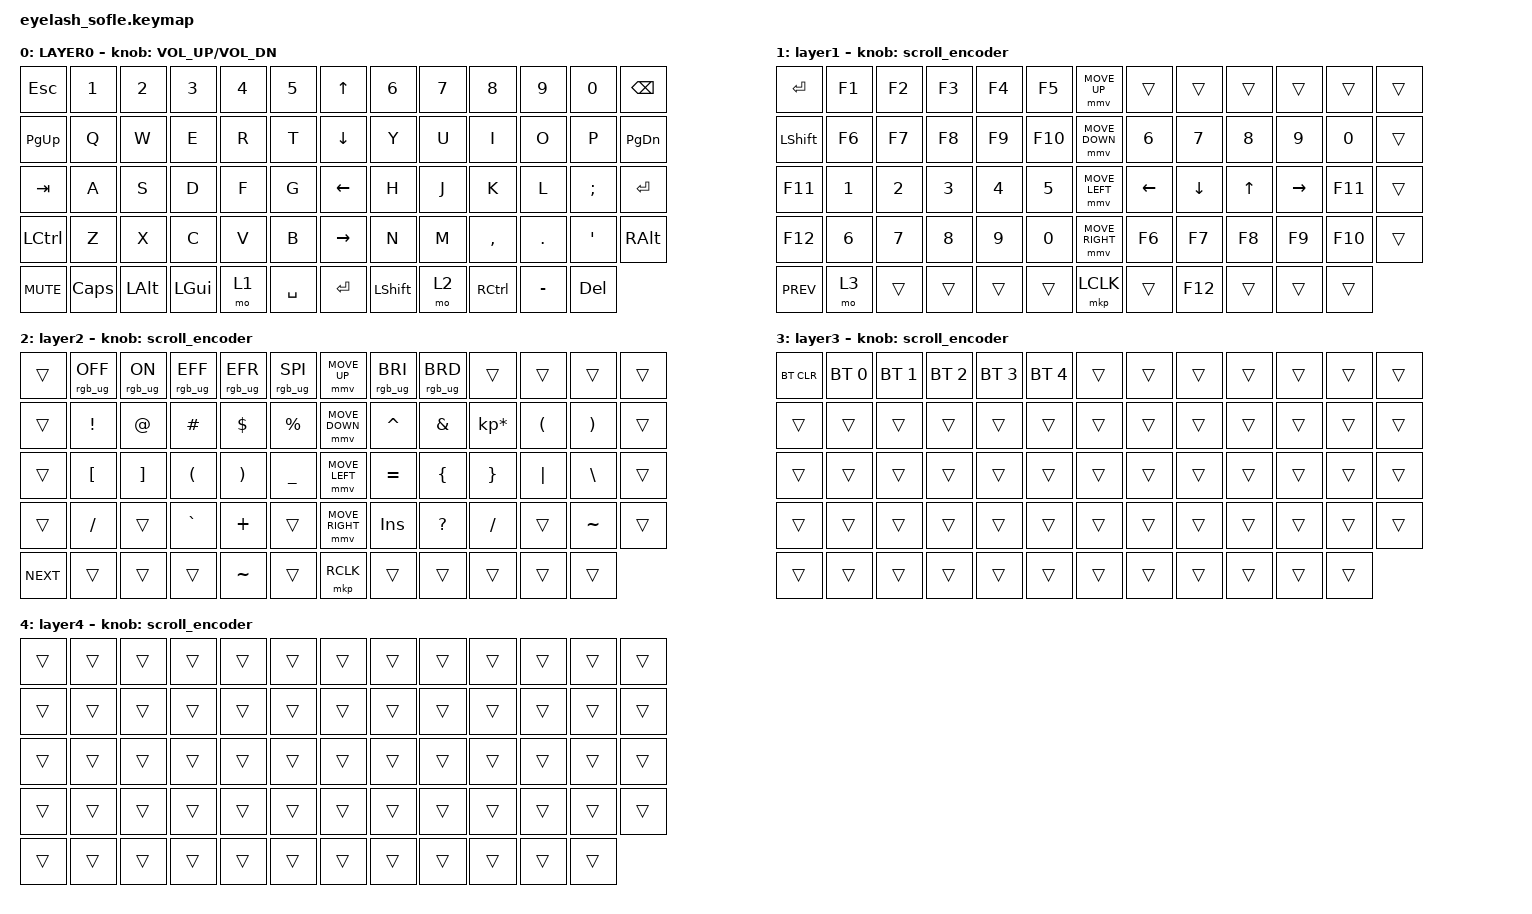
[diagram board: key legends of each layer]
#define ZMK_POINTING_DEFAULT_MOVE_VAL 1200  // 600
#define ZMK_POINTING_DEFAULT_SCRL_VAL 25   // 10

#include <input/processors.dtsi>
#include <zephyr/dt-bindings/input/input-event-codes.h>
#include <behaviors.dtsi>
#include <dt-bindings/zmk/bt.h>
#include <dt-bindings/zmk/keys.h>
#include <dt-bindings/zmk/outputs.h>
#include <dt-bindings/zmk/pointing.h>
#include <dt-bindings/zmk/rgb.h>

&mmv_input_listener { input-processors = <&zip_xy_scaler 2 1>; };

&msc_input_listener { input-processors = <&zip_scroll_scaler 2 1>; };

&msc {
    acceleration-exponent = <1>;      // 0
    time-to-max-speed-ms = <100>;       // 300
    delay-ms = <0>;                   // 0
};

&mmv {
    time-to-max-speed-ms = <500>;
    acceleration-exponent = <1>;
    trigger-period-ms = <16>;
};

&soft_off { hold-time-ms = <2000>; };

/ {
    scroll_encoder: scroll_encoder {
        compatible = "zmk,behavior-sensor-rotate";
        #sensor-binding-cells = <0>;
        bindings = <&msc SCRL_DOWN>, <&msc SCRL_UP>;

        tap-ms = <100>;
    };

    behaviors {
    };

    combos {
        compatible = "zmk,combos";

        softoff {
            bindings = <&soft_off>;
            key-positions = <14 28 40>;
        };
    };

    keymap {
        compatible = "zmk,keymap";

        layer0 {
            bindings = <
&kp ESC     &kp N1     &kp N2        &kp N3        &kp N4  &kp N5       &kp UP_ARROW     &kp N6     &kp N7     &kp N8     &kp N9           &kp N0   &kp BSPC
&kp PG_UP   &kp Q      &kp W         &kp E         &kp R   &kp T        &kp DOWN_ARROW   &kp Y      &kp U      &kp I      &kp O            &kp P    &kp PG_DN
&kp TAB     &kp A      &kp S         &kp D         &kp F   &kp G        &kp LEFT_ARROW   &kp H      &kp J      &kp K      &kp L            &kp SEMI &kp RET
&kp LCTRL   &kp Z      &kp X         &kp C         &kp V   &kp B        &kp RIGHT_ARROW  &kp N      &kp M      &kp COMMA  &kp DOT          &kp SQT  &kp RALT
&kp C_MUTE  &kp CAPS   &kp LALT      &kp LGUI      &mo 1   &kp SPACE    &kp ENTER        &kp LSHFT  &mo 2      &kp RCTRL  &kp MINUS        &kp DEL
            >;

            sensor-bindings = <&inc_dec_kp C_VOLUME_UP C_VOL_DN>;
            display-name = "LAYER0";
        };

        layer_1 {
            bindings = <
&kp RET     &kp F1   &kp F2  &kp F3  &kp F4  &kp F5                   &mmv MOVE_UP     &trans    &trans    &trans    &trans    &trans    &trans
&kp LSHFT   &kp F6   &kp F7  &kp F8  &kp F9  &kp F10                  &mmv MOVE_DOWN   &kp N6    &kp N7    &kp N8    &kp N9    &kp N0    &trans
&kp F11     &kp N1   &kp N2  &kp N3  &kp N4  &kp N5                   &mmv MOVE_LEFT   &kp LEFT  &kp DOWN  &kp UP    &kp RIGHT &kp F11   &trans
&kp F12     &kp N6   &kp N7  &kp N8  &kp N9  &kp N0                   &mmv MOVE_RIGHT  &kp F6    &kp F7    &kp F8    &kp F9    &kp F10   &trans
&kp C_PREV  &mo 3    &trans  &trans  &trans  &trans                   &mkp LCLK        &trans    &kp F12   &trans    &trans    &trans
            >;

            display-name = "layer1";
            sensor-bindings = <&scroll_encoder>;
        };

        layer_2 {
            bindings = <
&trans    &rgb_ug RGB_OFF   &rgb_ug RGB_ON  &rgb_ug RGB_EFF  &rgb_ug RGB_EFR  &rgb_ug RGB_SPI               &mmv MOVE_UP     &rgb_ug RGB_BRI  &rgb_ug RGB_BRD    &trans          &trans   &trans    &trans
&trans    &kp EXCL &kp AT   &kp HASH        &kp DLLR         &kp PRCNT                                      &mmv MOVE_DOWN   &kp CARET        &kp AMPS           &kp KP_MULTIPLY &kp LPAR &kp RPAR  &trans
&trans    &kp LBKT &kp RBKT &kp LPAR        &kp RPAR         &kp UNDER                                      &mmv MOVE_LEFT   &kp EQUAL        &kp LBRC           &kp RBRC        &kp PIPE &kp BSLH  &trans
&trans    &kp FSLH &trans   &kp GRAVE       &kp PLUS         &trans                                         &mmv MOVE_RIGHT  &kp INS          &kp QMARK          &kp FSLH        &trans   &kp TILDE &trans
&kp C_NEXT     &trans       &trans          &trans           &kp TILDE &trans                               &mkp RCLK        &trans           &trans             &trans          &trans   &trans
            >;

            display-name = "layer2";
            sensor-bindings = <&scroll_encoder>;
        };

        layer_3 {
            bindings = <
&bt BT_CLR  &bt BT_SEL 0 &bt BT_SEL 1      &bt BT_SEL 2      &bt BT_SEL 3 &bt BT_SEL 4    &trans  &trans  &trans  &trans  &trans  &trans  &trans
&trans      &trans       &trans            &trans            &trans       &trans          &trans  &trans  &trans  &trans  &trans  &trans  &trans
&trans      &trans       &trans            &trans            &trans       &trans          &trans  &trans  &trans  &trans  &trans  &trans  &trans
&trans      &trans       &trans            &trans            &trans       &trans          &trans  &trans  &trans  &trans  &trans  &trans  &trans
&trans      &trans       &trans            &trans            &trans       &trans          &trans  &trans  &trans  &trans  &trans  &trans
            >;

            display-name = "layer3";
            sensor-bindings = <&scroll_encoder>;
        };

        layer_4 {
            bindings = <
&trans  &trans  &trans  &trans  &trans  &trans    &trans  &trans  &trans  &trans  &trans  &trans  &trans
&trans  &trans  &trans  &trans  &trans  &trans    &trans  &trans  &trans  &trans  &trans  &trans  &trans
&trans  &trans  &trans  &trans  &trans  &trans    &trans  &trans  &trans  &trans  &trans  &trans  &trans
&trans  &trans  &trans  &trans  &trans  &trans    &trans  &trans  &trans  &trans  &trans  &trans  &trans
&trans  &trans  &trans  &trans  &trans  &trans    &trans  &trans  &trans  &trans  &trans  &trans
            >;
         display-name = "layer4";
            sensor-bindings = <&scroll_encoder>;
        };
    };
};
